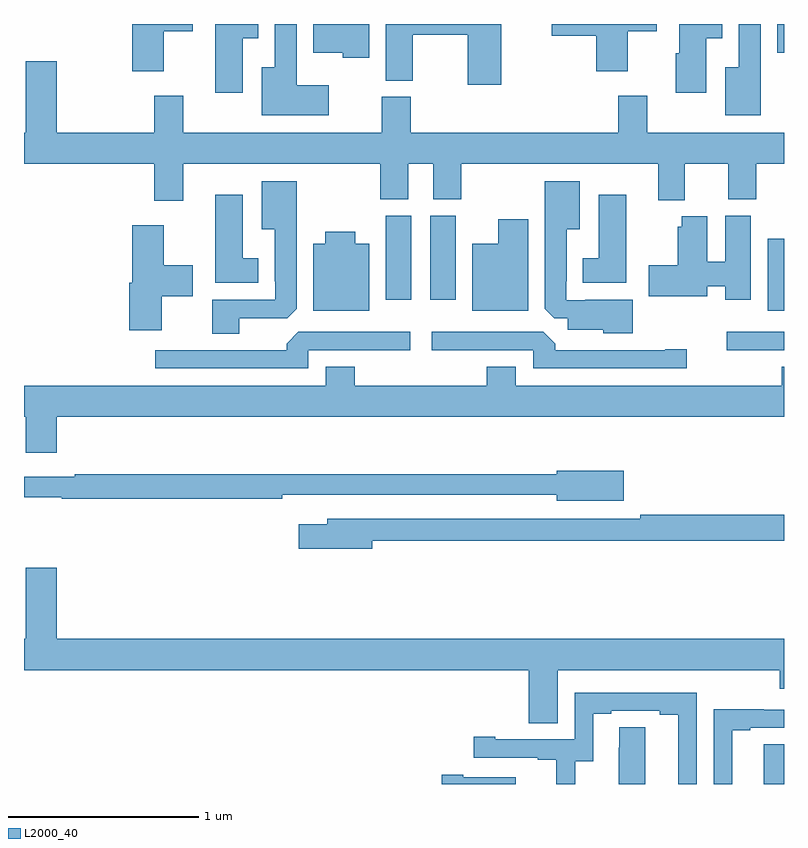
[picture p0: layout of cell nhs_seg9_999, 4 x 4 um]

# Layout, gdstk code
import gdstk
lib = gdstk.Library(unit=1e-6, precision=1e-09)
def R(c, l, rs):  # rectangles x0, y0, x1, y1
    for r in rs: c.add(gdstk.rectangle(r[:2], r[2:], *l))
def P(c, l, *ps):  # polygons
    for p in ps: c.add(gdstk.Polygon(p, *l))
L2000_40 = (2000, 40)

nhs_seg9_999 = lib.new_cell('nhs_seg9_999')
R(nhs_seg9_999, L2000_40, [(168.893,1182.5,169,1182.71), (168.699,1184.784,169,1184.88), (168.914,1184.99,169,1185.37), (166.904,1185.048,167.038,1185.492), (167.138,1185.048,167.272,1185.492), (168.965,1186.349,169,1186.5)])
P(nhs_seg9_999, L2000_40, [(168.178,1186.462),(168.331,1186.462),(168.331,1186.5),(167.778,1186.5),(167.778,1186.439),(168.011,1186.439),(168.011,1186.251),(168.178,1186.251)],
  [(168.592,1186.424),(168.676,1186.424),(168.676,1186.5),(168.449,1186.5),(168.449,1186.347),(168.431,1186.347),(168.431,1186.137),(168.592,1186.137)],
  [(166.15,1186.424),(166.234,1186.424),(166.234,1186.5),(166.007,1186.5),(166.007,1186.137),(166.15,1186.137)],
  [(166.816,1186.5),(166.523,1186.5),(166.523,1186.349),(166.677,1186.349),(166.677,1186.322),(166.816,1186.322)],
  [(166.603,1186.177),(166.435,1186.177),(166.435,1186.5),(166.319,1186.5),(166.319,1186.273),(166.25,1186.273),(166.25,1186.019),(166.603,1186.019)],
  [(167.513,1186.5),(166.904,1186.5),(166.904,1186.201),(167.046,1186.201),(167.046,1186.444),(167.335,1186.444),(167.335,1186.179),(167.513,1186.179)],
  [(168.877,1186.5),(168.761,1186.5),(168.761,1186.273),(168.692,1186.273),(168.692,1186.019),(168.877,1186.019)],
  [(165.736,1186.462),(165.889,1186.462),(165.889,1186.5),(165.569,1186.5),(165.569,1186.251),(165.736,1186.251)],
  [(165.838,1185.764),(166.876,1185.764),(166.876,1185.577),(167.023,1185.577),(167.023,1185.764),(167.153,1185.764),(167.153,1185.577),(167.301,1185.577),(167.301,1185.764),(168.338,1185.764),(168.338,1185.572),(168.478,1185.572),(168.478,1185.764),(168.707,1185.764),(168.707,1185.577),(168.855,1185.577),(168.855,1185.764),(169,1185.764),(169,1185.928),(168.28,1185.928),(168.28,1186.123),(168.128,1186.123),(168.128,1185.928),(167.036,1185.928),(167.036,1186.116),(166.883,1186.116),(166.883,1185.928),(165.838,1185.928),(165.838,1186.123),(165.686,1186.123),(165.686,1185.928),(165.172,1185.928),(165.172,1186.303),(165.008,1186.303),(165.008,1185.928),(165,1185.928),(165,1185.764),(165.686,1185.764),(165.686,1185.57),(165.838,1185.57)],
  [(168.205,1185.049),(167.953,1185.049),(167.953,1185.045),(167.853,1185.045),(167.853,1185.145),(167.857,1185.145),(167.857,1185.419),(167.926,1185.419),(167.926,1185.673),(167.741,1185.673),(167.741,1185.001),(167.79,1184.952),(167.861,1184.952),(167.861,1184.891),(168.048,1184.891),(168.048,1184.873),(168.205,1184.873)],
  [(166.132,1184.952),(166.386,1184.952),(166.435,1185.001),(166.435,1185.673),(166.25,1185.673),(166.25,1185.419),(166.319,1185.419),(166.319,1185.145),(166.323,1185.145),(166.323,1185.048),(165.992,1185.048),(165.992,1184.869),(166.132,1184.869)],
  [(166.234,1185.268),(166.15,1185.268),(166.15,1185.601),(166.007,1185.601),(166.007,1185.137),(166.234,1185.137)],
  [(168.169,1185.601),(168.026,1185.601),(168.026,1185.268),(167.942,1185.268),(167.942,1185.137),(168.169,1185.137)],
  [(168.826,1185.492),(168.692,1185.492),(168.692,1185.249),(168.595,1185.249),(168.595,1185.487),(168.463,1185.487),(168.463,1185.433),(168.44,1185.433),(168.44,1185.231),(168.288,1185.231),(168.288,1185.068),(168.595,1185.068),(168.595,1185.119),(168.692,1185.119),(168.692,1185.048),(168.826,1185.048)],
  [(167.653,1185.472),(167.495,1185.472),(167.495,1185.343),(167.36,1185.343),(167.36,1184.99),(167.653,1184.99)],
  [(165.724,1185.068),(165.889,1185.068),(165.889,1185.231),(165.736,1185.231),(165.736,1185.442),(165.569,1185.442),(165.569,1185.137),(165.554,1185.137),(165.554,1184.889),(165.724,1184.889)],
  [(166.816,1185.343),(166.744,1185.343),(166.744,1185.406),(166.586,1185.406),(166.586,1185.343),(166.523,1185.343),(166.523,1184.99),(166.816,1184.99)],
  [(166.497,1184.784),(167.032,1184.784),(167.032,1184.88),(166.443,1184.88),(166.382,1184.818),(166.382,1184.784),(165.69,1184.784),(165.69,1184.688),(166.497,1184.688)],
  [(168.487,1184.789),(168.374,1184.789),(168.374,1184.784),(167.795,1184.784),(167.795,1184.818),(167.733,1184.88),(167.145,1184.88),(167.145,1184.784),(167.679,1184.784),(167.679,1184.688),(168.487,1184.688)],
  [(165.172,1184.432),(169,1184.432),(169,1184.695),(168.989,1184.695),(168.989,1184.596),(167.587,1184.596),(167.587,1184.695),(167.435,1184.695),(167.435,1184.596),(166.742,1184.596),(166.742,1184.695),(166.589,1184.695),(166.589,1184.596),(165,1184.596),(165,1184.432),(165.008,1184.432),(165.008,1184.244),(165.172,1184.244)],
  [(168.157,1184.149),(167.804,1184.149),(167.804,1184.131),(165.268,1184.131),(165.268,1184.118),(165,1184.118),(165,1184.01),(165.198,1184.01),(165.198,1184.002),(166.358,1184.002),(166.358,1184.022),(167.804,1184.022),(167.804,1183.991),(168.157,1183.991)],
  [(166.834,1183.78),(169,1183.78),(169,1183.916),(168.244,1183.916),(168.244,1183.896),(166.595,1183.896),(166.595,1183.867),(166.446,1183.867),(166.446,1183.738),(166.834,1183.738)],
  [(167.809,1183.1),(168.977,1183.1),(168.977,1183.002),(169,1183.002),(169,1183.264),(165.172,1183.264),(165.172,1183.639),(165.008,1183.639),(165.008,1183.264),(165,1183.264),(165,1183.1),(167.657,1183.1),(167.657,1182.82),(167.809,1182.82)],
  [(167.901,1182.619),(167.995,1182.619),(167.995,1182.87),(168.091,1182.87),(168.091,1182.885),(168.347,1182.885),(168.347,1182.865),(168.443,1182.865),(168.443,1182.5),(168.54,1182.5),(168.54,1182.981),(167.898,1182.981),(167.898,1182.735),(167.479,1182.735),(167.479,1182.748),(167.367,1182.748),(167.367,1182.639),(167.705,1182.639),(167.705,1182.627),(167.801,1182.627),(167.801,1182.5),(167.901,1182.5)],
  [(168.727,1182.783),(168.823,1182.783),(168.823,1182.795),(169,1182.795),(169,1182.891),(168.893,1182.891),(168.893,1182.893),(168.63,1182.893),(168.63,1182.5),(168.727,1182.5)],
  [(168.271,1182.8),(168.132,1182.8),(168.132,1182.692),(168.131,1182.692),(168.131,1182.5),(168.271,1182.5)],
  [(167.587,1182.535),(167.311,1182.535),(167.311,1182.548),(167.199,1182.548),(167.199,1182.5),(167.587,1182.5)])

lib.write_gds('nhs_seg9_999.gds')
